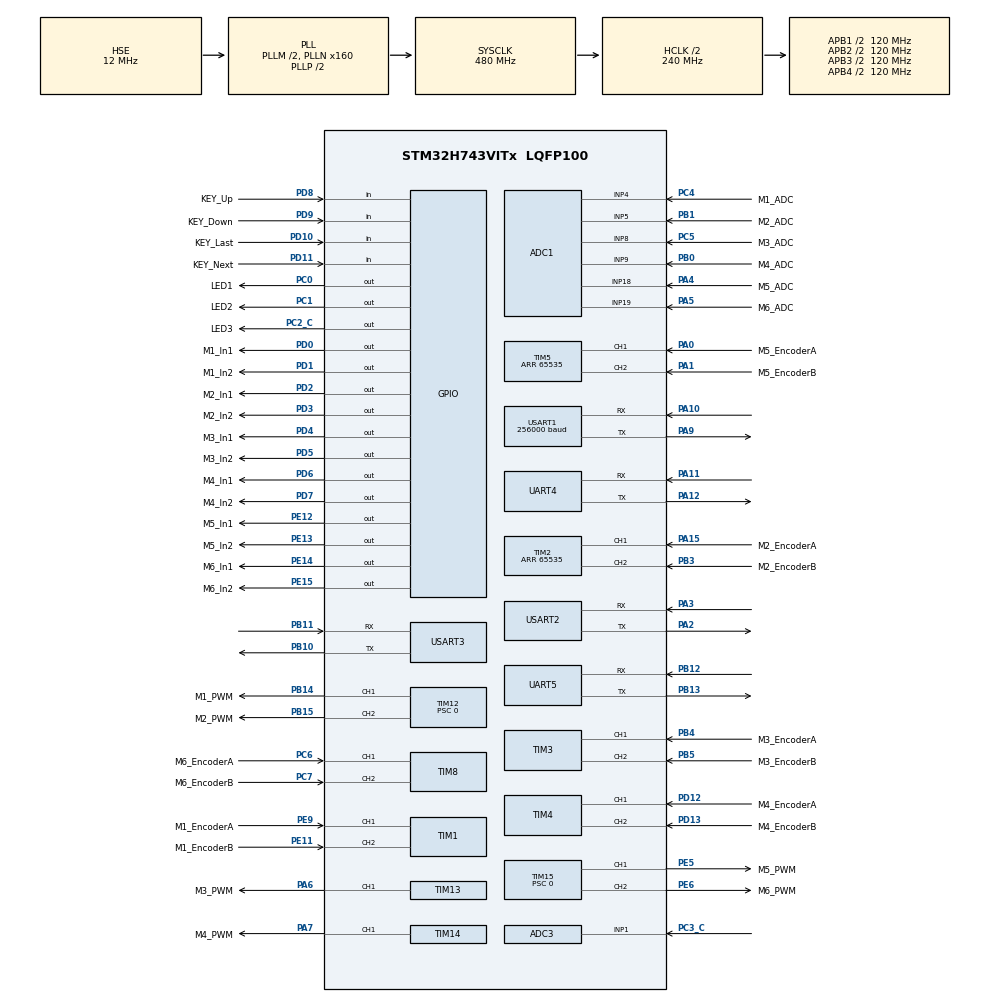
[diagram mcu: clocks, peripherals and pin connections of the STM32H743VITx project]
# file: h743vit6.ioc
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ADC1.Channel-0\#ChannelRegularConversion=ADC_CHANNEL_4
ADC1.Channel-1\#ChannelRegularConversion=ADC_CHANNEL_5
ADC1.Channel-2\#ChannelRegularConversion=ADC_CHANNEL_8
ADC1.Channel-3\#ChannelRegularConversion=ADC_CHANNEL_9
ADC1.Channel-4\#ChannelRegularConversion=ADC_CHANNEL_18
ADC1.Channel-5\#ChannelRegularConversion=ADC_CHANNEL_19
ADC1.ClockPrescaler=ADC_CLOCK_ASYNC_DIV8
ADC1.ContinuousConvMode=ENABLE
ADC1.ConversionDataManagement=ADC_CONVERSIONDATA_DMA_CIRCULAR
ADC1.NbrOfConversion=6
ADC1.NbrOfConversionFlag=1
ADC1.OffsetNumber-0\#ChannelRegularConversion=ADC_OFFSET_NONE
ADC1.OffsetNumber-1\#ChannelRegularConversion=ADC_OFFSET_NONE
ADC1.OffsetNumber-2\#ChannelRegularConversion=ADC_OFFSET_NONE
ADC1.OffsetNumber-3\#ChannelRegularConversion=ADC_OFFSET_NONE
ADC1.OffsetNumber-4\#ChannelRegularConversion=ADC_OFFSET_NONE
ADC1.OffsetNumber-5\#ChannelRegularConversion=ADC_OFFSET_NONE
ADC1.OffsetSignedSaturation-0\#ChannelRegularConversion=DISABLE
ADC1.OffsetSignedSaturation-1\#ChannelRegularConversion=DISABLE
ADC1.OffsetSignedSaturation-2\#ChannelRegularConversion=DISABLE
ADC1.OffsetSignedSaturation-3\#ChannelRegularConversion=DISABLE
ADC1.OffsetSignedSaturation-4\#ChannelRegularConversion=DISABLE
ADC1.OffsetSignedSaturation-5\#ChannelRegularConversion=DISABLE
ADC1.Overrun=ADC_OVR_DATA_OVERWRITTEN
ADC1.OversamplingMode=ENABLE
ADC1.OversamplingStopReset=ADC_REGOVERSAMPLING_RESUMED_MODE
ADC1.Rank-0\#ChannelRegularConversion=1
ADC1.Rank-1\#ChannelRegularConversion=2
ADC1.Rank-2\#ChannelRegularConversion=3
ADC1.Rank-3\#ChannelRegularConversion=4
ADC1.Rank-4\#ChannelRegularConversion=5
ADC1.Rank-5\#ChannelRegularConversion=6
ADC1.Ratio=1024
ADC1.RightBitShift=ADC_RIGHTBITSHIFT_10
ADC1.SamplingTime-0\#ChannelRegularConversion=ADC_SAMPLETIME_16CYCLES_5
ADC1.SamplingTime-1\#ChannelRegularConversion=ADC_SAMPLETIME_16CYCLES_5
ADC1.SamplingTime-2\#ChannelRegularConversion=ADC_SAMPLETIME_16CYCLES_5
ADC1.SamplingTime-3\#ChannelRegularConversion=ADC_SAMPLETIME_16CYCLES_5
ADC1.SamplingTime-4\#ChannelRegularConversion=ADC_SAMPLETIME_16CYCLES_5
ADC1.SamplingTime-5\#ChannelRegularConversion=ADC_SAMPLETIME_16CYCLES_5
ADC1.master=1
ADC3.Channel-0\#ChannelRegularConversion=ADC_CHANNEL_TEMPSENSOR
ADC3.Channel-1\#ChannelRegularConversion=ADC_CHANNEL_1
ADC3.ClockPrescaler=ADC_CLOCK_ASYNC_DIV8
ADC3.ContinuousConvMode=ENABLE
ADC3.ConversionDataManagement=ADC_CONVERSIONDATA_DMA_CIRCULAR
ADC3.LeftBitShift=ADC_LEFTBITSHIFT_NONE
ADC3.NbrOfConversion=2
ADC3.NbrOfConversionFlag=1
ADC3.OffsetNumber-0\#ChannelRegularConversion=ADC_OFFSET_NONE
ADC3.OffsetNumber-1\#ChannelRegularConversion=ADC_OFFSET_NONE
ADC3.OffsetSignedSaturation-0\#ChannelRegularConversion=DISABLE
ADC3.OffsetSignedSaturation-1\#ChannelRegularConversion=DISABLE
ADC3.Overrun=ADC_OVR_DATA_OVERWRITTEN
ADC3.OversamplingMode=ENABLE
ADC3.Rank-0\#ChannelRegularConversion=1
ADC3.Rank-1\#ChannelRegularConversion=2
ADC3.Ratio=1024
ADC3.RightBitShift=ADC_RIGHTBITSHIFT_10
ADC3.SamplingTime-0\#ChannelRegularConversion=ADC_SAMPLETIME_810CYCLES_5
ADC3.SamplingTime-1\#ChannelRegularConversion=ADC_SAMPLETIME_810CYCLES_5
CORTEX_M7.AccessPermission-Cortex_Memory_Protection_Unit_Region0_Settings=MPU_REGION_FULL_ACCESS
CORTEX_M7.BaseAddress-Cortex_Memory_Protection_Unit_Region0_Settings=0x38000000
CORTEX_M7.CPU_DCache=Enabled
CORTEX_M7.CPU_ICache=Enabled
CORTEX_M7.Enable-Cortex_Memory_Protection_Unit_Region0_Settings=MPU_REGION_ENABLE
CORTEX_M7.IsCacheable-Cortex_Memory_Protection_Unit_Region0_Settings=MPU_ACCESS_CACHEABLE
CORTEX_M7.MPU_Control=MPU_PRIVILEGED_DEFAULT
CORTEX_M7.Size-Cortex_Memory_Protection_Unit_Region0_Settings=MPU_REGION_SIZE_64KB
Dma.ADC1.0.Direction=DMA_PERIPH_TO_MEMORY
Dma.ADC1.0.EventEnable=DISABLE
Dma.ADC1.0.FIFOMode=DMA_FIFOMODE_DISABLE
Dma.ADC1.0.Instance=DMA1_Stream1
Dma.ADC1.0.MemDataAlignment=DMA_MDATAALIGN_WORD
Dma.ADC1.0.MemInc=DMA_MINC_ENABLE
Dma.ADC1.0.Mode=DMA_CIRCULAR
Dma.ADC1.0.PeriphDataAlignment=DMA_PDATAALIGN_WORD
Dma.ADC1.0.PeriphInc=DMA_PINC_DISABLE
Dma.ADC1.0.Polarity=HAL_DMAMUX_REQ_GEN_RISING
Dma.ADC1.0.Priority=DMA_PRIORITY_MEDIUM
Dma.ADC1.0.RequestNumber=1
Dma.ADC1.0.SignalID=NONE
Dma.ADC1.0.SyncEnable=DISABLE
Dma.ADC1.0.SyncPolarity=HAL_DMAMUX_SYNC_NO_EVENT
Dma.ADC1.0.SyncRequestNumber=1
Dma.ADC1.0.SyncSignalID=NONE
Dma.ADC3.1.Direction=DMA_PERIPH_TO_MEMORY
Dma.ADC3.1.EventEnable=DISABLE
Dma.ADC3.1.FIFOMode=DMA_FIFOMODE_DISABLE
Dma.ADC3.1.Instance=DMA1_Stream0
Dma.ADC3.1.MemDataAlignment=DMA_MDATAALIGN_WORD
Dma.ADC3.1.MemInc=DMA_MINC_ENABLE
Dma.ADC3.1.Mode=DMA_CIRCULAR
Dma.ADC3.1.PeriphDataAlignment=DMA_PDATAALIGN_WORD
Dma.ADC3.1.PeriphInc=DMA_PINC_DISABLE
Dma.ADC3.1.Polarity=HAL_DMAMUX_REQ_GEN_RISING
Dma.ADC3.1.Priority=DMA_PRIORITY_MEDIUM
Dma.ADC3.1.RequestNumber=1
Dma.ADC3.1.SignalID=NONE
Dma.ADC3.1.SyncEnable=DISABLE
Dma.ADC3.1.SyncPolarity=HAL_DMAMUX_SYNC_NO_EVENT
Dma.ADC3.1.SyncRequestNumber=1
Dma.ADC3.1.SyncSignalID=NONE
Dma.Request0=ADC1
Dma.Request1=ADC3
Mcu.Family=STM32H7
Mcu.Name=STM32H743VITx
Mcu.Package=LQFP100
NVIC.DMA1_Stream0_IRQn=true\:0\:0\:false\:false\:true\:false\:true
NVIC.DMA1_Stream1_IRQn=true\:0\:0\:false\:false\:true\:false\:true
NVIC.PriorityGroup=NVIC_PRIORITYGROUP_4
NVIC.TIM6_DAC_IRQn=true\:1\:0\:true\:false\:true\:true\:true
NVIC.USART1_IRQn=true\:2\:0\:true\:false\:true\:true\:true
NVIC.USART2_IRQn=true\:2\:0\:true\:false\:true\:true\:true
NVIC.USART3_IRQn=true\:2\:0\:true\:false\:true\:true\:true
PA0.GPIO_Label=M5_EncoderA
PA0.Signal=S_TIM5_CH1
PA1.GPIO_Label=M5_EncoderB
PA1.Signal=S_TIM5_CH2
PA10.Mode=Asynchronous
PA10.Signal=USART1_RX
PA11.Mode=Asynchronous
PA11.Signal=UART4_RX
PA12.Mode=Asynchronous
PA12.Signal=UART4_TX
PA15\ (JTDI).GPIO_Label=M2_EncoderA
PA15\ (JTDI).Signal=S_TIM2_CH1_ETR
PA2.Mode=Asynchronous
PA2.PinAttribute=Free
PA2.Signal=USART2_TX
PA3.Mode=Asynchronous
PA3.Signal=USART2_RX
PA4.GPIO_Label=M5_ADC
PA4.Signal=ADCx_INP18
PA5.GPIO_Label=M6_ADC
PA5.Signal=ADCx_INP19
PA6.GPIO_Label=M3_PWM
PA6.Signal=S_TIM13_CH1
PA7.GPIO_Label=M4_PWM
PA7.Signal=S_TIM14_CH1
PA9.Mode=Asynchronous
PA9.Signal=USART1_TX
PB0.GPIO_Label=M4_ADC
PB0.Signal=ADCx_INP9
PB1.GPIO_Label=M2_ADC
PB1.Signal=ADCx_INP5
PB10.Mode=Asynchronous
PB10.Signal=USART3_TX
PB11.Mode=Asynchronous
PB11.Signal=USART3_RX
PB12.Mode=Asynchronous
PB12.Signal=UART5_RX
PB13.Mode=Asynchronous
PB13.Signal=UART5_TX
PB14.GPIO_Label=M1_PWM
PB14.Signal=S_TIM12_CH1
PB15.GPIO_Label=M2_PWM
PB15.Signal=S_TIM12_CH2
PB3\ (JTDO/TRACESWO).GPIO_Label=M2_EncoderB
PB3\ (JTDO/TRACESWO).Signal=S_TIM2_CH2
PB4\ (NJTRST).GPIO_Label=M3_EncoderA
PB4\ (NJTRST).Signal=S_TIM3_CH1
PB5.GPIO_Label=M3_EncoderB
PB5.Signal=S_TIM3_CH2
PC0.GPIO_Label=LED1
PC0.Signal=GPIO_Output
PC1.GPIO_Label=LED2
PC1.Signal=GPIO_Output
PC14-OSC32_IN\ (OSC32_IN).Mode=LSE-External-Oscillator
PC14-OSC32_IN\ (OSC32_IN).Signal=RCC_OSC32_IN
PC15-OSC32_OUT\ (OSC32_OUT).Mode=LSE-External-Oscillator
PC15-OSC32_OUT\ (OSC32_OUT).Signal=RCC_OSC32_OUT
PC2_C.GPIO_Label=LED3
PC2_C.Signal=GPIO_Output
PC3_C.Mode=IN1-Single-Ended
PC3_C.Signal=ADC3_INP1
PC4.GPIO_Label=M1_ADC
PC4.Signal=ADCx_INP4
PC5.GPIO_Label=M3_ADC
PC5.Signal=ADCx_INP8
PC6.GPIO_Label=M6_EncoderA
PC6.Signal=S_TIM8_CH1
PC7.GPIO_Label=M6_EncoderB
PC7.Signal=S_TIM8_CH2
PD0.GPIO_Label=M1_In1
PD0.Signal=GPIO_Output
PD1.GPIO_Label=M1_In2
PD1.Signal=GPIO_Output
PD10.GPIO_Label=KEY_Last
PD10.GPIO_PuPd=GPIO_PULLDOWN
PD10.Signal=GPIO_Input
PD11.GPIO_Label=KEY_Next
PD11.GPIO_PuPd=GPIO_PULLDOWN
PD11.Signal=GPIO_Input
PD12.GPIO_Label=M4_EncoderA
PD12.Signal=S_TIM4_CH1
PD13.GPIO_Label=M4_EncoderB
PD13.Signal=S_TIM4_CH2
PD2.GPIO_Label=M2_In1
PD2.Signal=GPIO_Output
PD3.GPIO_Label=M2_In2
PD3.Signal=GPIO_Output
PD4.GPIO_Label=M3_In1
PD4.Signal=GPIO_Output
PD5.GPIO_Label=M3_In2
PD5.Signal=GPIO_Output
PD6.GPIO_Label=M4_In1
PD6.Signal=GPIO_Output
PD7.GPIO_Label=M4_In2
PD7.Signal=GPIO_Output
PD8.GPIO_Label=KEY_Up
PD8.GPIO_PuPd=GPIO_PULLDOWN
PD8.Signal=GPIO_Input
PD9.GPIO_Label=KEY_Down
PD9.GPIO_PuPd=GPIO_PULLDOWN
PD9.Signal=GPIO_Input
PE11.GPIO_Label=M1_EncoderB
PE11.PinAttribute=Free
PE11.Signal=S_TIM1_CH2
PE12.GPIO_Label=M5_In1
PE12.PinAttribute=Free
PE12.Signal=GPIO_Output
PE13.GPIO_Label=M5_In2
PE13.PinAttribute=Free
PE13.Signal=GPIO_Output
PE14.GPIO_Label=M6_In1
PE14.Signal=GPIO_Output
PE15.GPIO_Label=M6_In2
PE15.Signal=GPIO_Output
PE5.GPIO_Label=M5_PWM
PE5.Signal=S_TIM15_CH1
PE6.GPIO_Label=M6_PWM
PE6.Signal=S_TIM15_CH2
PE9.GPIO_Label=M1_EncoderA
PE9.PinAttribute=Free
PE9.Signal=S_TIM1_CH1
PH0-OSC_IN\ (PH0).Mode=HSE-External-Oscillator
PH0-OSC_IN\ (PH0).Signal=RCC_OSC_IN
PH1-OSC_OUT\ (PH1).Mode=HSE-External-Oscillator
PH1-OSC_OUT\ (PH1).Signal=RCC_OSC_OUT
ProjectManager.HeapSize=0x200
ProjectManager.StackSize=0x400
ProjectManager.TargetToolchain=MDK-ARM V5.32
RCC.ADCFreq_Value=72000000
RCC.APB1Freq_Value=120000000
RCC.APB2Freq_Value=120000000
RCC.APB3Freq_Value=120000000
RCC.APB4Freq_Value=120000000
RCC.CortexFreq_Value=480000000
RCC.D1PPRE=RCC_APB3_DIV2
RCC.D2PPRE1=RCC_APB1_DIV2
RCC.D2PPRE2=RCC_APB2_DIV2
RCC.D3PPRE=RCC_APB4_DIV2
RCC.DIVM1=2
RCC.DIVM2=1
RCC.DIVN1=160
RCC.DIVN2=24
RCC.DIVP2=4
RCC.EnbaleCSS=false
RCC.HCLKFreq_Value=240000000
RCC.HPRE=RCC_HCLK_DIV2
RCC.HSE_VALUE=12000000
RCC.PLL1_VCI_Range-AdvancedSettings=RCC_PLL1VCIRANGE_0
RCC.PLL1_VCO_SEL-AdvancedSettings=RCC_PLL1VCOMEDIUM
RCC.PLL2FRACN=0
RCC.PLL2_VCI_Range-AdvancedSettings=RCC_PLL2VCIRANGE_0
RCC.PLL2_VCO_SEL-AdvancedSettings=RCC_PLL2VCOMEDIUM
RCC.PLL3FRACN=0
RCC.PLL3_VCI_Range-AdvancedSettings=RCC_PLL3VCIRANGE_0
RCC.PLL3_VCO_SEL-AdvancedSettings=RCC_PLL3VCOMEDIUM
RCC.PLLSourceVirtual=RCC_PLLSOURCE_HSE
RCC.SYSCLKFreq_VALUE=480000000
RCC.SYSCLKSource=RCC_SYSCLKSOURCE_PLLCLK
RCC.USBFreq_Value=480000000
SH.ADCx_INP18.0=ADC1_INP18,IN18-Single-Ended
SH.ADCx_INP19.0=ADC1_INP19,IN19-Single-Ended
SH.ADCx_INP4.0=ADC1_INP4,IN4-Single-Ended
SH.ADCx_INP5.0=ADC1_INP5,IN5-Single-Ended
SH.ADCx_INP8.0=ADC1_INP8,IN8-Single-Ended
SH.ADCx_INP9.0=ADC1_INP9,IN9-Single-Ended
SH.S_TIM12_CH1.0=TIM12_CH1,PWM Generation1 CH1
SH.S_TIM12_CH2.0=TIM12_CH2,PWM Generation2 CH2
SH.S_TIM13_CH1.0=TIM13_CH1,PWM Generation1 CH1
SH.S_TIM14_CH1.0=TIM14_CH1,PWM Generation1 CH1
SH.S_TIM15_CH1.0=TIM15_CH1,PWM Generation1 CH1
SH.S_TIM15_CH2.0=TIM15_CH2,PWM Generation2 CH2
SH.S_TIM1_CH1.0=TIM1_CH1,Encoder_Interface
SH.S_TIM1_CH2.0=TIM1_CH2,Encoder_Interface
SH.S_TIM2_CH1_ETR.0=TIM2_CH1,Encoder_Interface
SH.S_TIM2_CH2.0=TIM2_CH2,Encoder_Interface
SH.S_TIM3_CH1.0=TIM3_CH1,Encoder_Interface
SH.S_TIM3_CH2.0=TIM3_CH2,Encoder_Interface
SH.S_TIM4_CH1.0=TIM4_CH1,Encoder_Interface
SH.S_TIM4_CH2.0=TIM4_CH2,Encoder_Interface
SH.S_TIM5_CH1.0=TIM5_CH1,Encoder_Interface
SH.S_TIM5_CH2.0=TIM5_CH2,Encoder_Interface
SH.S_TIM8_CH1.0=TIM8_CH1,Encoder_Interface
SH.S_TIM8_CH2.0=TIM8_CH2,Encoder_Interface
TIM1.AutoReloadPreload=TIM_AUTORELOAD_PRELOAD_ENABLE
TIM1.EncoderMode=TIM_ENCODERMODE_TI12
TIM1.IC1Filter=5
TIM1.IC2Filter=5
TIM12.AutoReloadPreload=TIM_AUTORELOAD_PRELOAD_ENABLE
TIM12.Channel-PWM\ Generation1\ CH1=TIM_CHANNEL_1
TIM12.Channel-PWM\ Generation2\ CH2=TIM_CHANNEL_2
TIM12.Period=12000
TIM12.Prescaler=0
TIM13.AutoReloadPreload=TIM_AUTORELOAD_PRELOAD_ENABLE
TIM13.Channel=TIM_CHANNEL_1
TIM13.Period=12000
TIM13.Prescaler=0
TIM14.AutoReloadPreload=TIM_AUTORELOAD_PRELOAD_ENABLE
TIM14.Channel=TIM_CHANNEL_1
TIM14.Period=12000
TIM14.Prescaler=0
TIM15.AutoReloadPreload=TIM_AUTORELOAD_PRELOAD_ENABLE
TIM15.Channel-PWM\ Generation1\ CH1=TIM_CHANNEL_1
TIM15.Channel-PWM\ Generation2\ CH2=TIM_CHANNEL_2
TIM15.OCIdleState_1=TIM_OCIDLESTATE_SET
TIM15.OCIdleState_2=TIM_OCIDLESTATE_SET
TIM15.Period=12000
TIM15.Prescaler=0
TIM2.AutoReloadPreload=TIM_AUTORELOAD_PRELOAD_ENABLE
TIM2.EncoderMode=TIM_ENCODERMODE_TI12
TIM2.IC1Filter=10
TIM2.IC2Filter=10
TIM2.Period=65535
TIM3.AutoReloadPreload=TIM_AUTORELOAD_PRELOAD_ENABLE
TIM3.EncoderMode=TIM_ENCODERMODE_TI12
TIM3.IC1Filter=10
TIM3.IC2Filter=10
TIM4.AutoReloadPreload=TIM_AUTORELOAD_PRELOAD_ENABLE
TIM4.EncoderMode=TIM_ENCODERMODE_TI12
TIM4.IC1Filter=10
TIM4.IC2Filter=10
TIM5.AutoReloadPreload=TIM_AUTORELOAD_PRELOAD_ENABLE
TIM5.EncoderMode=TIM_ENCODERMODE_TI12
TIM5.IC1Filter=10
TIM5.IC2Filter=10
TIM5.Period=65535
TIM6.AutoReloadPreload=TIM_AUTORELOAD_PRELOAD_ENABLE
TIM6.Period=1000-1
TIM6.Prescaler=24-1
TIM8.AutoReloadPreload=TIM_AUTORELOAD_PRELOAD_ENABLE
TIM8.EncoderMode=TIM_ENCODERMODE_TI12
TIM8.IC1Filter=10
TIM8.IC2Filter=10
USART1.BaudRate=256000
USART1.VirtualMode-Asynchronous=VM_ASYNC
USART2.VirtualMode-Asynchronous=VM_ASYNC
USART3.OverrunDisableParam=ADVFEATURE_OVERRUN_DISABLE
USART3.VirtualMode-Asynchronous=VM_ASYNC
VP_ADC3_TempSens_Input.Mode=IN-TempSens
VP_TIM12_VS_ClockSourceINT.Mode=Internal
VP_TIM13_VS_ClockSourceINT.Mode=Enable_Timer
VP_TIM14_VS_ClockSourceINT.Mode=Enable_Timer
VP_TIM15_VS_ClockSourceINT.Mode=Internal
VP_TIM6_VS_ClockSourceINT.Mode=Enable_Timer
board=custom

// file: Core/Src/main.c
/* USER CODE BEGIN Header */
/**
  ******************************************************************************
  * @file           : main.c
  * @brief          : Main program body
  ******************************************************************************
  * @attention
  *
  * <h2><center>&copy; Copyright (c) 2021 STMicroelectronics.
  * All rights reserved.</center></h2>
  *
  * This software component is licensed by ST under BSD 3-Clause license,
  * the "License"; You may not use this file except in compliance with the
  * License. You may obtain a copy of the License at:
  *                        opensource.org/licenses/BSD-3-Clause
  *
  ******************************************************************************
  */
/* USER CODE END Header */
#include "main.h"
#include "adc.h"
#include "dma.h"
#include "tim.h"
#include "usart.h"
#include "gpio.h"

/* USER CODE BEGIN Includes */
#include "stdio.h"
#include "motor.h"
#include "Dataex.h"
#include "control.h"
#include  "math.h"
#include "key.h"
#include "Ctrl_schedule.h"
#include "FC_PID.h"
#include "Inv_Kine.h"
#include "target.h"

/* USER CODE END Includes */

/* USER CODE BEGIN PTD */

/*内存0x38000000上的变量，给DMA搬运数据使用 */
ALIGN_32BYTES(__attribute__((section(".RAM_D3"))) uint32_t ADC3_Data[2]);       /*三个通道的数据*/
ALIGN_32BYTES(__attribute__((section(".RAM_D3"))) uint32_t ADC1_Data[6]);       /*三个通道的数据*/
/* DTCNM内存的全局变量 */

float Temp = 0;
float Vrefint = 0;
float adc3In1 = 0;
float Curent1 = 0;
float Curent2 = 0;
float Curent3 = 0;
float Curent4 = 0;
float Curent5 = 0;
float Curent6 = 0;

/* USER CODE END PTD */

/* USER CODE BEGIN PD */
#define PI 3.14159
/* USER CODE END PD */

/* USER CODE BEGIN PM */

float turn_CPU_Temperature(uint32_t Temp_Value);

/* USER CODE END PM */

/* USER CODE BEGIN PV */
uint8_t Position_zeroed_Flag = 0;
uint8_t Key_contrl_flag = 0;
uint8_t target_followed_flag = 0;
uint8_t receive_buff;
uint8_t receive_buff_JY901;
/* USER CODE END PV */

void SystemClock_Config(void);
void PeriphCommonClock_Config(void);
static void MPU_Config(void);

/* USER CODE BEGIN 0 */

 /*   九轴传感器调试iic   */
		//用串口2给JY模块发送指令
		void sendcmd(char cmd[])
		{
		char i;
		for(i=0;i<5;i++)
		HAL_UART_Transmit(&huart3,(uint8_t*)cmd+i, 1, 10);
		}
 /*   九轴传感器调试iic   */

/* USER CODE END 0 */

int main(void)
{

  /* MPU Configuration--------------------------------------------------------*/
  MPU_Config();

  /* Enable I-Cache---------------------------------------------------------*/
  SCB_EnableICache();

  /* Enable D-Cache---------------------------------------------------------*/
  SCB_EnableDCache();

  /* MCU Configuration--------------------------------------------------------*/

  /* Reset of all peripherals, Initializes the Flash interface and the Systick. */
  HAL_Init();

  /* Configure the system clock */
  SystemClock_Config();

/* Configure the peripherals common clocks */
  PeriphCommonClock_Config();

  /* Initialize all configured peripherals */
  MX_GPIO_Init();
  MX_TIM1_Init();
  MX_TIM2_Init();
  MX_TIM3_Init();
  MX_TIM4_Init();
  MX_TIM5_Init();
  MX_TIM6_Init();
  MX_TIM8_Init();
  MX_TIM12_Init();
  MX_TIM13_Init();
  MX_TIM14_Init();
  MX_TIM15_Init();
  MX_UART4_Init();
  MX_UART5_Init();
  MX_USART1_UART_Init();
  MX_DMA_Init();
  MX_USART3_UART_Init();
  MX_ADC3_Init();
  MX_USART2_UART_Init();
  /* USER CODE BEGIN 2 */
	//////////////////
	MX_ADC1_Init();//要放在MX_DMA_Init();后面，否则DMA不能用！！！

	/************************外设配置****************************************/

	Position_zeroed_Flag = 0;       //调试，手动校准位置标志
	HAL_TIM_Base_Start_IT(&htim6); //中断时钟使能提供整体时钟

	HAL_TIM_PWM_Start(&htim12,TIM_CHANNEL_1);  //开启tim12通道1   PB14输出pwm
	HAL_TIM_PWM_Start(&htim12,TIM_CHANNEL_2);  //开启tim12通道2   PB15输出pwm
	HAL_TIM_PWM_Start(&htim13,TIM_CHANNEL_1);  //开启tim13通道1   PA6输出pwm
	HAL_TIM_PWM_Start(&htim14,TIM_CHANNEL_1);  //开启tim14通道1   PA7输出pwm
	HAL_TIM_PWM_Start(&htim15,TIM_CHANNEL_1);  //开启tim15通道1   PE5输出pwm
	HAL_TIM_PWM_Start(&htim15,TIM_CHANNEL_2);  //开启tim15通道2   PE6输出pwm

	HAL_TIM_Encoder_Start(&htim1, TIM_CHANNEL_ALL);   //使能正交编码器 PE9 PE11
	HAL_TIM_Encoder_Start(&htim2, TIM_CHANNEL_ALL);   //使能正交编码器 PA15 PB3
	HAL_TIM_Encoder_Start(&htim3, TIM_CHANNEL_ALL);   //使能正交编码器 PB4 PB5
	HAL_TIM_Encoder_Start(&htim4, TIM_CHANNEL_ALL);   //使能正交编码器 PD12 PD13
	HAL_TIM_Encoder_Start(&htim5, TIM_CHANNEL_ALL);   //使能正交编码器 PA0 PA1
	HAL_TIM_Encoder_Start(&htim8, TIM_CHANNEL_ALL);   //使能正交编码器 PC6 PC7

  /////////****串口中断配置*******///////
	HAL_UART_Receive_IT(&huart1 , &receive_buff ,1);
	HAL_UART_Receive_IT(&huart3 , (uint8_t*)&receive_buff_JY901 ,1 );

  /////////****ADC+DMA配置*******///////
	HAL_ADC_Start_DMA(&hadc3,(uint32_t*)ADC3_Data,2);  /* 启动DMA搬运数据 */
	HAL_ADC_Start_DMA(&hadc1,(uint32_t*)ADC1_Data,6);  /* 启动DMA搬运数据 */

	/************************初始化****************************************/

	Motor_Init();    //电机角度参数初始化
	Control_Init();  //PID参数初始化

  /**********模糊pid初始化***********/
	fuzzy_controler_Init(&FC_M1);
	fuzzy_controler_Init(&FC_M3);
	fuzzy_controler_Init(&FC_M4);
	fuzzy_controler_Init(&FC_M6);

  /* USER CODE END 2 */

  /* Infinite loop */
  /* USER CODE BEGIN WHILE */

	/************************程序运行参数设置****************************************/

	///***前馈角度计算******/////
	motor_Angle_d_Caculate(3, &Left_InvKine, 0);   //最后一个参数0~4代表4种轨迹曲线
	motor_Angle_d_Caculate(3, &Right_InvKine, 0);

	//前馈补偿计算
	forward_Value(Left_InvKine.angle_M1_d, Left_InvKine.angle_M1_dv,2000);
	forward_Value(Left_InvKine.angle_M2_d, Left_InvKine.angle_M2_dv,3000);
	forward_Value(Left_InvKine.angle_M3_d, Left_InvKine.angle_M3_dv,2000);
	forward_Value(Right_InvKine.angle_M1_d, Right_InvKine.angle_M1_dv,2000);
	forward_Value(Right_InvKine.angle_M2_d, Right_InvKine.angle_M2_dv,3000);
	forward_Value(Right_InvKine.angle_M3_d, Right_InvKine.angle_M3_dv,2000);

	//前馈补偿数据发送到上位机
	uint16_t transfer_cnt = 0;
	for(transfer_cnt = 0;transfer_cnt<3000;transfer_cnt++)
	{
		printf("data:%d\n",(int)(Right_InvKine.angle_M1_dv[transfer_cnt]));
	}
	//PID参数设置
	Pid_Set(&Motor1pid,500,0,0);
	Pid_Set(&Motor2pid,500,0,0);
	Pid_Set(&Motor3pid,500,0,0);
	Pid_Set(&Motor4pid,500,0,0.001);
	Pid_Set(&Motor5pid,500,0,5);
	Pid_Set(&Motor6pid,500,0,0.1);

  while(1)
  {
		HAL_Delay(5);

		HAL_UART_Receive_IT(&huart3 , (uint8_t*)&receive_buff_JY901 ,1 );

    /* USER CODE END WHILE */

    /* USER CODE BEGIN 3 */

		while(Position_zeroed_Flag == 0)
		{
//			Position_zeroed_Flag = Key_Scan();
			//电机动作函数
      Motor_Adusted_from_PC();

			HAL_Delay(5);

		}
		if(Position_zeroed_Flag)
		{
//			HAL_Delay(20);
//			HAL_GPIO_TogglePin(LED1_GPIO_Port,LED1_Pin);
//			HAL_Delay(200);
//			HAL_GPIO_TogglePin(LED1_GPIO_Port,LED1_Pin);
//			HAL_Delay(200);
//			HAL_GPIO_TogglePin(LED2_GPIO_Port,LED2_Pin);
//			HAL_Delay(200);
//			HAL_GPIO_TogglePin(LED2_GPIO_Port,LED2_Pin);
//			HAL_Delay(200);
//			HAL_GPIO_TogglePin(LED3_GPIO_Port,LED3_Pin);
//			HAL_Delay(1000);
//			HAL_GPIO_TogglePin(LED3_GPIO_Port,LED3_Pin);
//			HAL_Delay(200);
		}
  }
  /* USER CODE END 3 */
}

void SystemClock_Config(void)
{
  RCC_OscInitTypeDef RCC_OscInitStruct = {0};
  RCC_ClkInitTypeDef RCC_ClkInitStruct = {0};

  /** Supply configuration update enable
  */
  HAL_PWREx_ConfigSupply(PWR_LDO_SUPPLY);
  /** Configure the main internal regulator output voltage
  */
  __HAL_PWR_VOLTAGESCALING_CONFIG(PWR_REGULATOR_VOLTAGE_SCALE0);

  while(!__HAL_PWR_GET_FLAG(PWR_FLAG_VOSRDY)) {}
  /** Macro to configure the PLL clock source
  */
  __HAL_RCC_PLL_PLLSOURCE_CONFIG(RCC_PLLSOURCE_HSE);
  /** Initializes the RCC Oscillators according to the specified parameters
  * in the RCC_OscInitTypeDef structure.
  */
  RCC_OscInitStruct.OscillatorType = RCC_OSCILLATORTYPE_HSE;
  RCC_OscInitStruct.HSEState = RCC_HSE_ON;
  RCC_OscInitStruct.PLL.PLLState = RCC_PLL_ON;
  RCC_OscInitStruct.PLL.PLLSource = RCC_PLLSOURCE_HSE;
  RCC_OscInitStruct.PLL.PLLM = 2;
  RCC_OscInitStruct.PLL.PLLN = 160;
  RCC_OscInitStruct.PLL.PLLP = 2;
  RCC_OscInitStruct.PLL.PLLQ = 2;
  RCC_OscInitStruct.PLL.PLLR = 2;
  RCC_OscInitStruct.PLL.PLLRGE = RCC_PLL1VCIRANGE_2;
  RCC_OscInitStruct.PLL.PLLVCOSEL = RCC_PLL1VCOWIDE;
  RCC_OscInitStruct.PLL.PLLFRACN = 0;
  if (HAL_RCC_OscConfig(&RCC_OscInitStruct) != HAL_OK)
  {
    Error_Handler();
  }
  /** Initializes the CPU, AHB and APB buses clocks
  */
  RCC_ClkInitStruct.ClockType = RCC_CLOCKTYPE_HCLK|RCC_CLOCKTYPE_SYSCLK
                              |RCC_CLOCKTYPE_PCLK1|RCC_CLOCKTYPE_PCLK2
                              |RCC_CLOCKTYPE_D3PCLK1|RCC_CLOCKTYPE_D1PCLK1;
  RCC_ClkInitStruct.SYSCLKSource = RCC_SYSCLKSOURCE_PLLCLK;
  RCC_ClkInitStruct.SYSCLKDivider = RCC_SYSCLK_DIV1;
  RCC_ClkInitStruct.AHBCLKDivider = RCC_HCLK_DIV2;
  RCC_ClkInitStruct.APB3CLKDivider = RCC_APB3_DIV2;
  RCC_ClkInitStruct.APB1CLKDivider = RCC_APB1_DIV2;
  RCC_ClkInitStruct.APB2CLKDivider = RCC_APB2_DIV2;
  RCC_ClkInitStruct.APB4CLKDivider = RCC_APB4_DIV2;

  if (HAL_RCC_ClockConfig(&RCC_ClkInitStruct, FLASH_LATENCY_4) != HAL_OK)
  {
    Error_Handler();
  }
}

void PeriphCommonClock_Config(void)
{
  RCC_PeriphCLKInitTypeDef PeriphClkInitStruct = {0};

  /** Initializes the peripherals clock
  */
  PeriphClkInitStruct.PeriphClockSelection = RCC_PERIPHCLK_ADC;
  PeriphClkInitStruct.PLL2.PLL2M = 1;
  PeriphClkInitStruct.PLL2.PLL2N = 24;
  PeriphClkInitStruct.PLL2.PLL2P = 4;
  PeriphClkInitStruct.PLL2.PLL2Q = 2;
  PeriphClkInitStruct.PLL2.PLL2R = 2;
  PeriphClkInitStruct.PLL2.PLL2RGE = RCC_PLL2VCIRANGE_3;
  PeriphClkInitStruct.PLL2.PLL2VCOSEL = RCC_PLL2VCOMEDIUM;
  PeriphClkInitStruct.PLL2.PLL2FRACN = 0;
  PeriphClkInitStruct.AdcClockSelection = RCC_ADCCLKSOURCE_PLL2;
  if (HAL_RCCEx_PeriphCLKConfig(&PeriphClkInitStruct) != HAL_OK)
  {
    Error_Handler();
  }
}

/* USER CODE BEGIN 4 */

float turn_CPU_Temperature(uint32_t Temp_Value)
{

	uint16_t TS_CAL1;
	uint16_t TS_CAL2;
	float Temp_oC = 0;

	/* 根据参考手册给的公式计算温度值 */
    TS_CAL1 = *(__IO uint16_t *)(0x1FF1E820);
    TS_CAL2 = *(__IO uint16_t *)(0x1FF1E840);

    Temp_oC = ((110.0f - 30.0f) / (TS_CAL2 - TS_CAL1)) * (Temp_Value - TS_CAL1) + 30.0f;

    return Temp_oC;
}

/****************************逆运动学调试 ****************************
SysTick->VAL = 0;
int start_time=SysTick->VAL;
//测试计算需要的时间  int end_time = SysTick->VAL;
int i=0;
for(i=0;i<100;i++)
{
Inv_Kine_Caculator(-3.14+0.02*i,-0.52+0.01*i,-0.52+0.01*i,&Left_InvKine);
printf("%d\n",(int)(Left_InvKine.theta1*1000));
printf("%d\n",(int)(Left_InvKine.theta2*1000));
printf("%d\n",(int)(Left_InvKine.theta3*1000));
}
int end_time = SysTick->VAL;
printf("%d\n",end_time);

***************************** 逆运动学调试 **************************/

/**************************** 测试逆运动学生成的轨迹对否 *************************

uint8_t falg1234;
for(falg1234=0;falg1234<4;falg1234++)
{
	int i;
	motor_Angle_d_Caculate(3, &Left_InvKine, falg1234);
	motor_Angle_d_Caculate(3, &Right_InvKine, falg1234);
	for(i=0;i<3000;i++)
	{
		inv_To_PC();
	}
}
**************************** 测试逆运动学生成的轨迹对否 *************************/

/* USER CODE END 4 */

/* MPU Configuration */

void MPU_Config(void)
{
  MPU_Region_InitTypeDef MPU_InitStruct = {0};

  /* Disables the MPU */
  HAL_MPU_Disable();
  /** Initializes and configures the Region and the memory to be protected
  */
  MPU_InitStruct.Enable = MPU_REGION_ENABLE;
  MPU_InitStruct.Number = MPU_REGION_NUMBER0;
  MPU_InitStruct.BaseAddress = 0x38000000;
  MPU_InitStruct.Size = MPU_REGION_SIZE_64KB;
  MPU_InitStruct.SubRegionDisable = 0x0;
  MPU_InitStruct.TypeExtField = MPU_TEX_LEVEL0;
  MPU_InitStruct.AccessPermission = MPU_REGION_FULL_ACCESS;
  MPU_InitStruct.DisableExec = MPU_INSTRUCTION_ACCESS_ENABLE;
  MPU_InitStruct.IsShareable = MPU_ACCESS_NOT_SHAREABLE;
  MPU_InitStruct.IsCacheable = MPU_ACCESS_CACHEABLE;
  MPU_InitStruct.IsBufferable = MPU_ACCESS_NOT_BUFFERABLE;

  HAL_MPU_ConfigRegion(&MPU_InitStruct);
  /* Enables the MPU */
  HAL_MPU_Enable(MPU_PRIVILEGED_DEFAULT);

}

void Error_Handler(void)
{
  __disable_irq();
  while (1)
  {
  }
}
